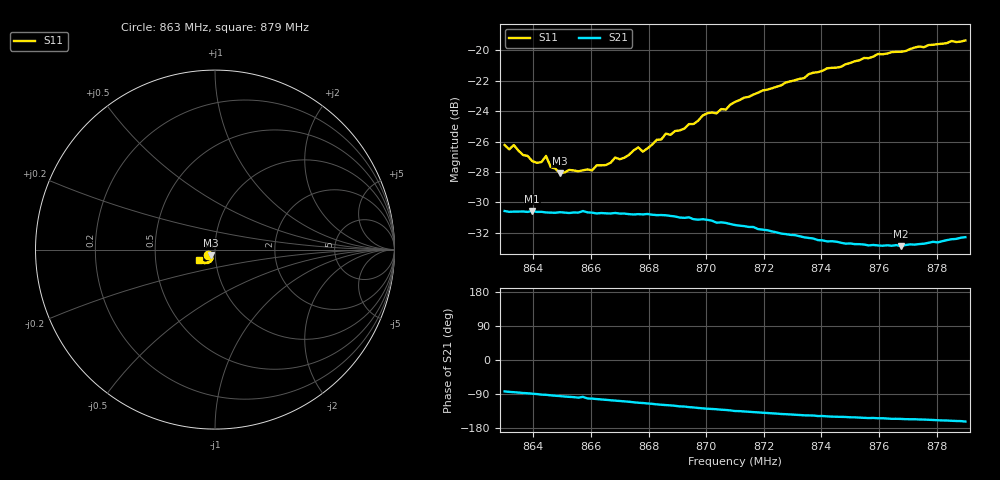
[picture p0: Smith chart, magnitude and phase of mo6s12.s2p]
# HZ S RI R 50
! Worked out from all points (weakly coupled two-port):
!   101 points, 863 MHz to 879 MHz, reference 50 ohm
!   highest |S21| = -30.56 dB at 863.96 MHz (marker M1); lowest = -32.9 dB at 876.76 MHz (marker M2)
!   lowest |S11| = -28.1 dB at 864.92 MHz (marker M3), VSWR 1.08, Z = 47.5 - j2.91 ohm
!   |S11| at or under -10 dB: start of sweep to end of sweep
!   S12 and S22 are empty: the file has one direction only
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8.63e8  -0.0398 -0.0282  0.00367 -0.0294  0 0  0 0
8.6316e8  -0.0385 -0.0273  0.00304 -0.0293  0 0  0 0
8.6332e8  -0.0394 -0.0288  0.0026 -0.0294  0 0  0 0
8.6396e8  -0.0327 -0.0283  0.000597 -0.0296  0 0  0 0
8.6428e8  -0.0311 -0.0296  -0.000711 -0.0295  0 0  0 0
8.6444e8  -0.0325 -0.031  -0.000959 -0.0293  0 0  0 0
8.646e8  -0.0282 -0.0302  -0.00169 -0.0292  0 0  0 0
8.6492e8  -0.0249 -0.0306  -0.00265 -0.0293  0 0  0 0
8.6572e8  -0.0195 -0.0353  -0.00375 -0.0294  0 0  0 0
8.6716e8  -0.0168 -0.041  -0.00955 -0.0275  0 0  0 0
8.6764e8  -0.0171 -0.0448  -0.0112 -0.0267  0 0  0 0
8.678e8  -0.0165 -0.0434  -0.0115 -0.0265  0 0  0 0
8.6844e8  -0.0159 -0.0484  -0.0135 -0.0254  0 0  0 0
8.686e8  -0.0152 -0.051  -0.0139 -0.0251  0 0  0 0
8.6924e8  -0.0153 -0.0531  -0.0152 -0.0237  0 0  0 0
8.6988e8  -0.0178 -0.0584  -0.017 -0.0221  0 0  0 0
8.7068e8  -0.0198 -0.0607  -0.0181 -0.0202  0 0  0 0
8.71e8  -0.0227 -0.0636  -0.0187 -0.019  0 0  0 0
8.7372e8  -0.0394 -0.0745  -0.0201 -0.0133  0 0  0 0
8.7644e8  -0.0663 -0.0728  -0.0207 -0.00956  0 0  0 0
8.7676e8  -0.0692 -0.0704  -0.0207 -0.00943  0 0  0 0
8.79e8  -0.0906 -0.0579  -0.0232 -0.00738  0 0  0 0
